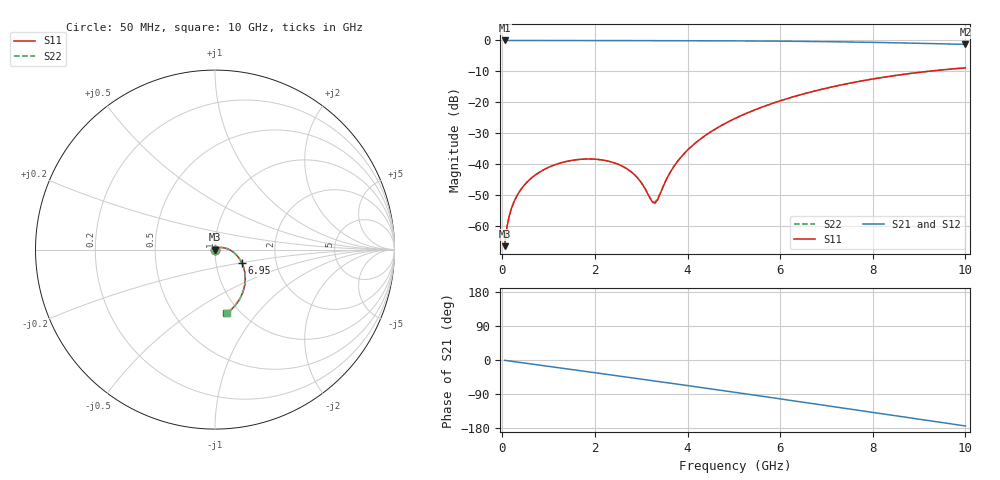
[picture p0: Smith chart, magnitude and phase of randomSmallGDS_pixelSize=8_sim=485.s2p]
! freq	dB(S11)	phase(S11)	dB(S12)	phase(S12)
!  dB(S21)	phase(S21)	dB(S22)	phase(S22)
!S-par simulation data
#  GHz  S  DB  R 50
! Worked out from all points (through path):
!   200 points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, 50 MHz to 10 GHz, reference 50 ohm
!   highest |S21| = 0.00 dB at 50 MHz (marker M1); lowest = -1.3 dB at 10 GHz (marker M2)
!   group delay of S21, straight-line fit = 48.5 ps
!   lowest |S11| = -66.5 dB at 50 MHz (marker M3), VSWR 1.00, Z = 50 - j0.0475 ohm
!   |S11| at or under -10 dB: start of sweep to 9.184 GHz
!   |S22| runs from -66.5 to -8.9 dB; largest |S21 - S12| = 0
!   S11 on the Smith chart (normalised r, x): 50 MHz: 1.00, -0.00; 6.95 GHz: 1.33, -0.20; 10 GHz: 0.87, -0.71
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0.05  -66.47 -88.8  -0.00 -0.8  -0.00 -0.8  -66.48 -88.9
0.1  -60.34 -91.8  -0.00 -1.7  -0.00 -1.7  -60.34 -91.9
0.2  -54.20 -94.3  -0.00 -3.4  -0.00 -3.4  -54.20 -94.3
0.35  -49.34 -97.1  -0.00 -5.9  -0.00 -5.9  -49.34 -97.1
0.5  -46.34 -99.8  -0.01 -8.4  -0.01 -8.4  -46.34 -99.8
0.75  -43.09 -104.4  -0.01 -12.6  -0.01 -12.6  -43.09 -104.5
1.05  -40.68 -110.1  -0.02 -17.6  -0.02 -17.6  -40.68 -110.2
1.75  -38.35 -123.8  -0.03 -29.4  -0.03 -29.4  -38.35 -123.9
2.2  -38.73 -133.4  -0.04 -36.9  -0.04 -36.9  -38.73 -133.6
2.55  -40.33 -142.5  -0.05 -42.8  -0.05 -42.8  -40.32 -142.8
2.9  -44.10 -156.8  -0.05 -48.7  -0.05 -48.7  -44.06 -157.4
3.25  -52.37 142.3  -0.06 -54.7  -0.06 -54.7  -52.04 141.7
3.3  -52.55 120.3  -0.06 -55.5  -0.06 -55.5  -52.19 120.6
3.4  -49.91 82.6  -0.06 -57.2  -0.06 -57.2  -49.70 83.9
3.65  -42.02 48.3  -0.07 -61.5  -0.07 -61.5  -41.98 49.1
4  -35.44 33.1  -0.08 -67.5  -0.08 -67.5  -35.43 33.6
4.45  -30.04 21.5  -0.10 -75.3  -0.10 -75.3  -30.04 21.9
5.05  -25.04 9.1  -0.14 -85.7  -0.14 -85.7  -25.04 9.4
6.7  -16.51 -21.7  -0.33 -115.1  -0.33 -115.1  -16.51 -21.5
6.95  -15.59 -26.2  -0.37 -119.5  -0.37 -119.5  -15.59 -26.1
8.35  -11.62 -51.3  -0.71 -144.8  -0.71 -144.8  -11.62 -51.2
10  -8.86 -79.8  -1.27 -174.1  -1.27 -174.1  -8.86 -79.7
